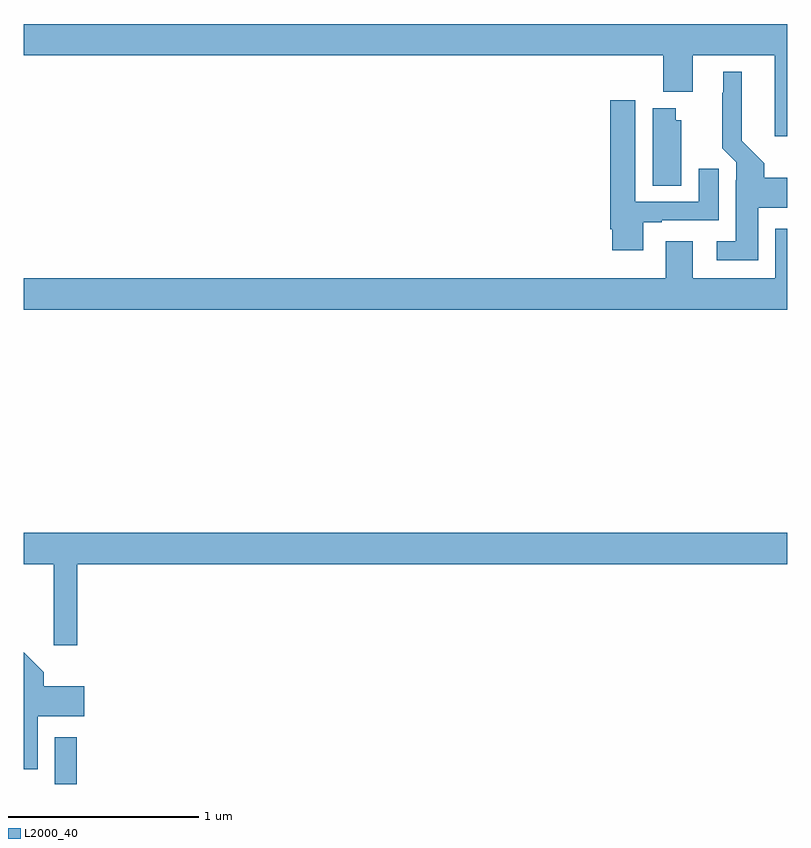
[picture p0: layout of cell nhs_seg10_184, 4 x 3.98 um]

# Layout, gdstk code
import gdstk
lib = gdstk.Library(unit=1e-6, precision=1e-09)
def R(c, l, rs):  # rectangles x0, y0, x1, y1
    for r in rs: c.add(gdstk.rectangle(r[:2], r[2:], *l))
def P(c, l, *ps):  # polygons
    for p in ps: c.add(gdstk.Polygon(p, *l))
L2000_40 = (2000, 40)

nhs_seg10_184 = lib.new_cell('nhs_seg10_184')
R(nhs_seg10_184, L2000_40, [(119.163,1296.5,119.279,1296.745)])
P(nhs_seg10_184, L2000_40, [(123,1300.48),(119,1300.48),(119,1300.316),(122.351,1300.316),(122.351,1300.124),(122.503,1300.124),(122.503,1300.316),(122.933,1300.316),(122.933,1299.891),(123,1299.891)],
  [(122.848,1299.518),(123,1299.518),(123,1299.676),(122.879,1299.676),(122.879,1299.75),(122.761,1299.868),(122.761,1300.231),(122.663,1300.231),(122.663,1300.121),(122.659,1300.121),(122.659,1299.83),(122.733,1299.756),(122.733,1299.662),(122.729,1299.662),(122.729,1299.343),(122.631,1299.343),(122.631,1299.242),(122.848,1299.242)],
  [(122.245,1299.441),(122.341,1299.441),(122.341,1299.453),(122.641,1299.453),(122.641,1299.721),(122.537,1299.721),(122.537,1299.549),(122.203,1299.549),(122.203,1300.081),(122.072,1300.081),(122.072,1299.406),(122.084,1299.406),(122.084,1299.294),(122.245,1299.294)],
  [(122.443,1299.975),(122.416,1299.975),(122.416,1300.039),(122.294,1300.039),(122.294,1299.634),(122.443,1299.634)],
  [(123,1299.409),(122.937,1299.409),(122.937,1299.148),(122.503,1299.148),(122.503,1299.343),(122.363,1299.343),(122.363,1299.148),(119,1299.148),(119,1298.984),(123,1298.984)],
  [(119.282,1297.652),(123,1297.652),(123,1297.816),(119,1297.816),(119,1297.652),(119.159,1297.652),(119.159,1297.227),(119.282,1297.227)],
  [(119.074,1296.854),(119.317,1296.854),(119.317,1297.012),(119.105,1297.012),(119.105,1297.086),(119,1297.191),(119,1296.578),(119.074,1296.578)])

lib.write_gds('nhs_seg10_184.gds')
